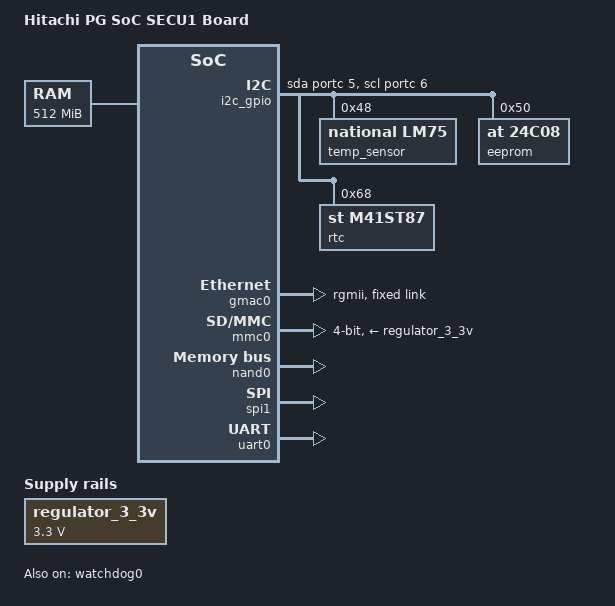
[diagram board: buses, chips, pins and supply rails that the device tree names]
// SPDX-License-Identifier: GPL-2.0+
/*
 * Copyright (C) 2016-2020 Hitachi Power Grids
 */

#include "socfpga_arria5.dtsi"
#include "socfpga-common-u-boot.dtsi"
#include <dt-bindings/gpio/gpio.h>

/ {
	model = "Hitachi PG SoC SECU1 Board";
	compatible = "altr,socfpga-secu1", "altr,socfpga";

	chosen {
		stdout-path = "serial0:115200n8";
		bootargs = "console=ttyS0,115200";
	};

	memory {
		name = "memory";
		device_type = "memory";
		reg = <0x0 0x20000000>; /* 512MB */
	};

	aliases {
		/*
		 * this allow the ethaddr uboot environment variable contents
		 * to be added to the gmac0 device tree blob.
		 */
		ethernet0 = &gmac0;
		spi0 = &spi1;
	};

	bootcount@0 {
		compatible = "u-boot,bootcount-rtc";
		rtc = <&rtc>;
		offset = <0x9e>;
	};

	i2c_gpio: i2c@0 {
		compatible = "i2c-gpio";
		#address-cells = <1>;
		#size-cells = <0>;
		gpios = <&portc 5 (GPIO_ACTIVE_HIGH|GPIO_OPEN_DRAIN)	/* SDA */
			 &portc 6 (GPIO_ACTIVE_HIGH|GPIO_OPEN_DRAIN)>;	/* SCL */
		i2c-gpio,delay-us = <5>;	/* ~100 kHz */
		i2c-gpio,deblock;

		temp_sensor@48 {
			compatible = "national,lm75";
			reg = <0x48>;
		};

		eeprom@50 {
			compatible = "at,24c08";
			reg = <0x50>;
		};

		rtc: rtc@68 {
			compatible = "st,m41st87";
			reg = <0x68>;
			interrupt-parent = <&intc>;
			interrupts = <0 42 0x4>;
		};
	};

	regulator_3_3v: 3-3-v-regulator {
		compatible = "regulator-fixed";
		regulator-name = "3.3V";
		regulator-min-microvolt = <3300000>;
		regulator-max-microvolt = <3300000>;
	};
};

&gmac0 {
	status = "okay";
	phy-mode = "rgmii";
	fixed-link {
		speed = <1000>;
		full-duplex;
	};
};

&gpio0 {
	status = "okay";
};

&gpio1 {
	status = "okay";
};

&gpio2 {
	status = "okay";
};

&mmc0 {
	vmmc-supply = <&regulator_3_3v>;
	vqmmc-supply = <&regulator_3_3v>;
	bus-width = <4>;
	bootph-all;
};

&nand0 {
	status = "okay";
};

&porta {
	bank-name = "porta";
};

&portb {
	bank-name = "portb";
};

&portc {
	bank-name = "portc";
};

&spi1 {
	status = "okay";
};

&uart0 {
	clock-frequency = <100000000>;
	bootph-all;
	status = "okay";
};

&uart1 {
	clock-frequency = <100000000>;
};

&watchdog0 {
	bootph-all;
	status = "okay";
};
